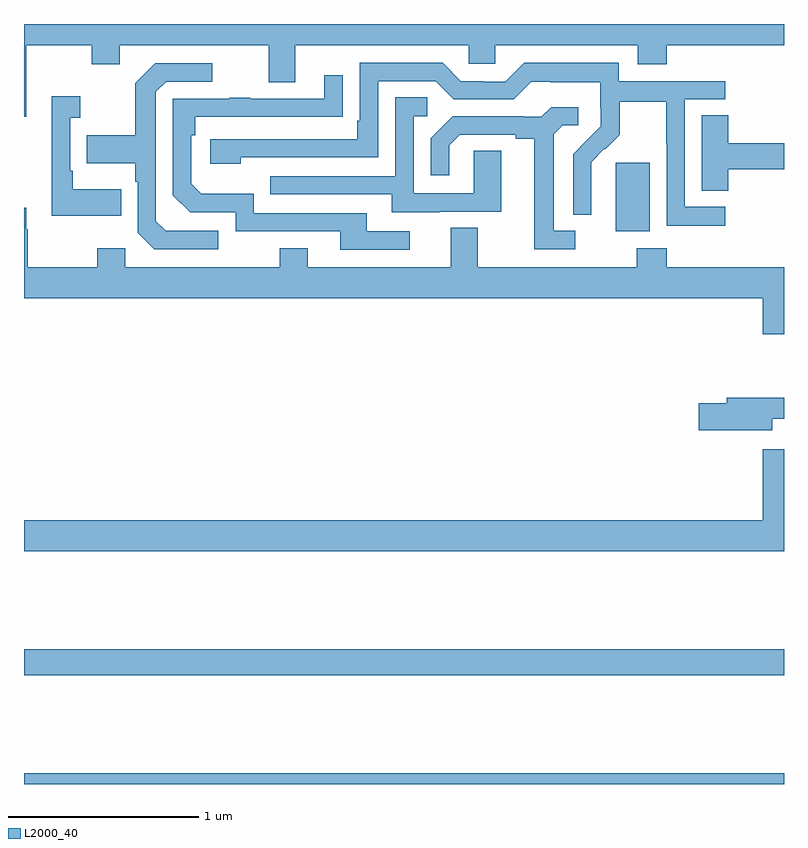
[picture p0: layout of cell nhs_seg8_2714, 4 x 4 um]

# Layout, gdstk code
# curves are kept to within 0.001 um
import gdstk
lib = gdstk.Library(unit=1e-6, precision=1e-09)
def R(c, l, rs):  # rectangles x0, y0, x1, y1
    for r in rs: c.add(gdstk.rectangle(r[:2], r[2:], *l))
def P(c, l, *ps):  # polygons
    for p in ps: c.add(gdstk.Polygon(p, *l))
L2000_40 = (2000, 40)

nhs_seg8_2714 = lib.new_cell('nhs_seg8_2714')
R(nhs_seg8_2714, L2000_40, [(281,1157.9,285,1157.956), (281,1158.472,285,1158.608), (284.114,1160.81,284.293,1161.171)])
P(nhs_seg8_2714, L2000_40, [(281.356,1161.689),(281.503,1161.689),(281.503,1161.788),(282.287,1161.788),(282.287,1161.594),(282.427,1161.594),(282.427,1161.788),(283.341,1161.788),(283.341,1161.69),(283.479,1161.69),(283.479,1161.788),(284.231,1161.788),(284.231,1161.689),(284.384,1161.689),(284.384,1161.788),(285,1161.788),(285,1161.9),(281,1161.9),(281,1161.411),(281.011,1161.411),(281.011,1161.788),(281.356,1161.788)],
  [(284.692,1160.937),(284.478,1160.937),(284.478,1161.504),(284.692,1161.504),(284.692,1161.6),(284.13,1161.6),(284.13,1161.697),(283.633,1161.697),(283.533,1161.597),(283.418,1161.597),(283.418,1161.6),(283.299,1161.6),(283.203,1161.696),(282.768,1161.696),(282.768,1161.391),(282.755,1161.391),(282.755,1161.294),(281.979,1161.294),(281.979,1161.164),(282.14,1161.164),(282.14,1161.198),(282.864,1161.198),(282.864,1161.6),(283.167,1161.6),(283.263,1161.504),(283.578,1161.504),(283.671,1161.597),(283.771,1161.597),(283.771,1161.593),(284.034,1161.593),(284.034,1161.459),(284.036,1161.459),(284.036,1161.362),(283.89,1161.214),(283.89,1160.896),(283.986,1160.896),(283.985,1161.173),(284.055,1161.243),(284.058,1161.24),(284.135,1161.317),(284.135,1161.492),(284.38,1161.492),(284.38,1161.268),(284.382,1161.268),(284.382,1160.839),(284.692,1160.839)],
  [(282.022,1160.811),(281.745,1160.811),(281.694,1160.862),(281.694,1161.543),(281.748,1161.597),(281.992,1161.597),(281.992,1161.693),(281.691,1161.693),(281.586,1161.587),(281.586,1161.315),(281.329,1161.315),(281.329,1161.167),(281.586,1161.167),(281.586,1161.071),(281.598,1161.071),(281.598,1160.802),(281.685,1160.715),(282.022,1160.715)],
  [(283.03,1160.808),(282.805,1160.808),(282.805,1160.904),(282.21,1160.904),(282.21,1161.007),(281.933,1161.007),(281.88,1161.06),(281.88,1161.314),(281.9,1161.314),(281.9,1161.411),(282.677,1161.412),(282.677,1161.631),(282.581,1161.631),(282.581,1161.507),(282.191,1161.507),(282.191,1161.512),(282.079,1161.512),(282.079,1161.507),(281.784,1161.507),(281.784,1161),(281.874,1160.91),(282.114,1160.91),(282.114,1160.808),(282.665,1160.808),(282.665,1160.712),(283.03,1160.712)],
  [(281.513,1161.031),(281.257,1161.031),(281.257,1161.127),(281.244,1161.127),(281.244,1161.407),(281.296,1161.407),(281.296,1161.52),(281.147,1161.52),(281.147,1160.891),(281.513,1160.891)],
  [(283.189,1160.913),(283.513,1160.913),(283.513,1161.233),(283.368,1161.233),(283.368,1161.009),(283.05,1161.009),(283.05,1161.414),(283.123,1161.414),(283.123,1161.515),(282.954,1161.515),(282.954,1161.099),(282.295,1161.099),(282.295,1161.003),(282.935,1161.003),(282.935,1160.909),(283.189,1160.909)],
  [(283.9,1160.811),(283.789,1160.811),(283.789,1161.319),(283.836,1161.366),(283.918,1161.366),(283.918,1161.463),(283.774,1161.463),(283.722,1161.411),(283.628,1161.411),(283.628,1161.414),(283.256,1161.414),(283.14,1161.298),(283.14,1161.105),(283.237,1161.105),(283.237,1161.261),(283.294,1161.318),(283.589,1161.318),(283.589,1161.296),(283.685,1161.296),(283.685,1160.715),(283.9,1160.715)],
  [(284.706,1161.136),(285,1161.136),(285,1161.272),(284.706,1161.272),(284.706,1161.419),(284.567,1161.419),(284.567,1161.022),(284.706,1161.022)],
  [(284.888,1160.268),(285,1160.268),(285,1160.62),(284.384,1160.62),(284.384,1160.719),(284.224,1160.719),(284.224,1160.62),(283.387,1160.62),(283.387,1160.828),(283.247,1160.828),(283.247,1160.62),(282.493,1160.62),(282.493,1160.719),(282.346,1160.719),(282.346,1160.62),(281.532,1160.62),(281.532,1160.719),(281.386,1160.719),(281.386,1160.62),(281.019,1160.62),(281.019,1160.819),(281.011,1160.819),(281.011,1160.932),(281,1160.932),(281,1160.456),(284.888,1160.456)],
  [(284.938,1159.823),(285,1159.823),(285,1159.933),(284.699,1159.933),(284.699,1159.904),(284.55,1159.904),(284.55,1159.762),(284.938,1159.762)],
  [(285,1159.663),(284.888,1159.663),(284.888,1159.288),(281,1159.288),(281,1159.124),(285,1159.124)])

lib.write_gds('nhs_seg8_2714.gds')
